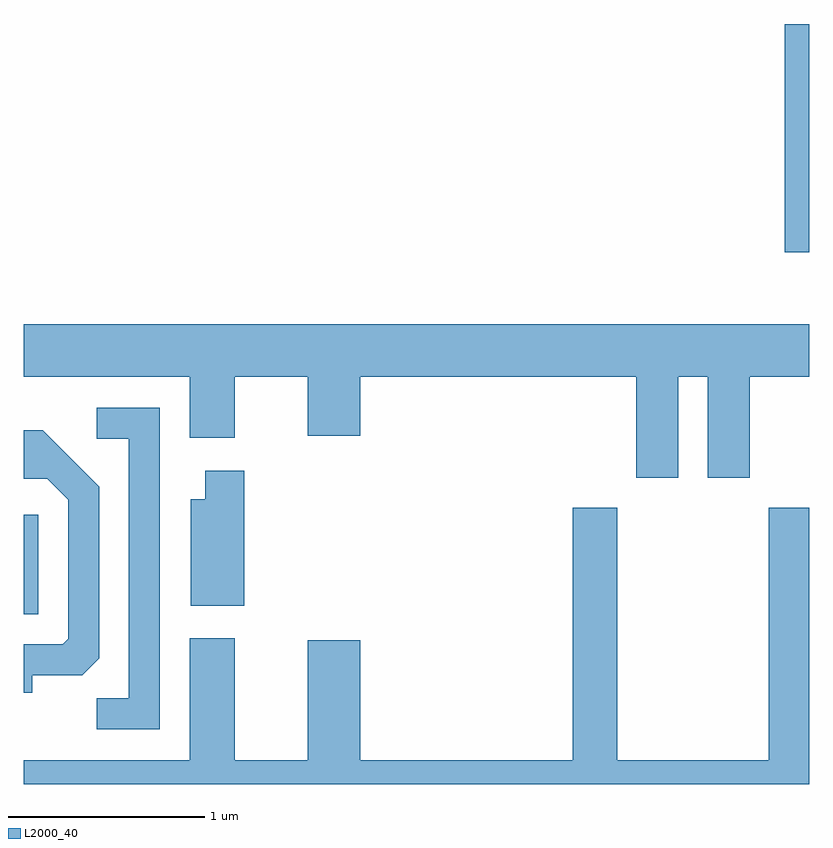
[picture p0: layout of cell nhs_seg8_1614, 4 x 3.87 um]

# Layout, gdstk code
import gdstk
lib = gdstk.Library(unit=1e-6, precision=1e-09)
def R(c, l, rs):  # rectangles x0, y0, x1, y1
    for r in rs: c.add(gdstk.rectangle(r[:2], r[2:], *l))
def P(c, l, *ps):  # polygons
    for p in ps: c.add(gdstk.Polygon(p, *l))
L2000_40 = (2000, 40)

nhs_seg8_1614 = lib.new_cell('nhs_seg8_1614')
R(nhs_seg8_1614, L2000_40, [(233.611,1835.206,233.684,1835.713), (237.486,1837.051,237.611,1838.214)])
P(nhs_seg8_1614, L2000_40, [(236.944,1836.416),(237.096,1836.416),(237.096,1835.901),(237.309,1835.901),(237.309,1836.416),(237.611,1836.416),(237.611,1836.684),(233.611,1836.684),(233.611,1836.416),(234.456,1836.416),(234.456,1836.106),(234.684,1836.106),(234.684,1836.416),(235.056,1836.416),(235.056,1836.116),(235.324,1836.116),(235.324,1836.416),(236.731,1836.416),(236.731,1835.901),(236.944,1835.901)],
  [(234.304,1836.259),(233.983,1836.259),(233.983,1836.101),(234.146,1836.101),(234.146,1834.779),(233.983,1834.779),(233.983,1834.621),(234.304,1834.621)],
  [(233.654,1834.896),(233.909,1834.896),(233.994,1834.982),(233.994,1835.857),(233.707,1836.144),(233.611,1836.144),(233.611,1835.896),(233.729,1835.896),(233.836,1835.789),(233.836,1835.082),(233.809,1835.054),(233.611,1835.054),(233.611,1834.806),(233.654,1834.806)],
  [(234.734,1835.939),(234.536,1835.939),(234.536,1835.794),(234.461,1835.794),(234.461,1835.251),(234.734,1835.251)],
  [(234.456,1835.084),(234.456,1834.464),(233.611,1834.464),(233.611,1834.342),(237.611,1834.342),(237.611,1835.749),(237.406,1835.749),(237.406,1834.464),(236.634,1834.464),(236.634,1835.749),(236.406,1835.749),(236.406,1834.464),(235.324,1834.464),(235.324,1835.074),(235.056,1835.074),(235.056,1834.464),(234.684,1834.464),(234.684,1835.084)])

lib.write_gds('nhs_seg8_1614.gds')
